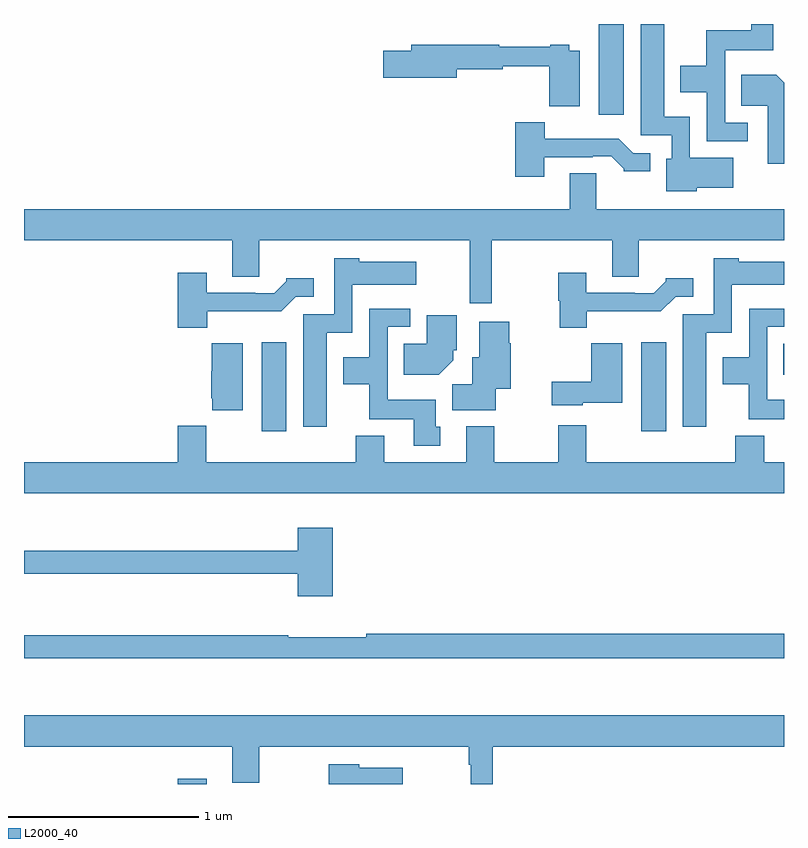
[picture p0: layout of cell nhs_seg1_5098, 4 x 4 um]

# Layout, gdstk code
import gdstk
lib = gdstk.Library(unit=1e-6, precision=1e-09)
def R(c, l, rs):  # rectangles x0, y0, x1, y1
    for r in rs: c.add(gdstk.rectangle(r[:2], r[2:], *l))
def P(c, l, *ps):  # polygons
    for p in ps: c.add(gdstk.Polygon(p, *l))
L2000_40 = (2000, 40)

nhs_seg1_5098 = lib.new_cell('nhs_seg1_5098')
R(nhs_seg1_5098, L2000_40, [(387.809,554.199,387.961,554.227), (388.25,556.056,388.381,556.525), (390.248,556.056,390.379,556.525), (390.997,556.352,391,556.516), (390.026,557.721,390.157,558.199), (389.585,558.198,389.737,558.199)])
P(nhs_seg1_5098, L2000_40, [(390.808,557.679),(390.69,557.679),(390.69,558.062),(390.943,558.062),(390.943,558.199),(390.827,558.199),(390.827,558.166),(390.592,558.166),(390.592,557.98),(390.455,557.98),(390.455,557.84),(390.594,557.84),(390.594,557.583),(390.808,557.583)],
  [(390.54,557.336),(390.733,557.336),(390.733,557.494),(390.504,557.494),(390.504,557.71),(390.37,557.71),(390.37,558.199),(390.245,558.199),(390.245,557.613),(390.408,557.613),(390.408,557.49),(390.38,557.49),(390.38,557.318),(390.54,557.318)],
  [(389.926,558.058),(389.871,558.058),(389.871,558.091),(389.771,558.091),(389.771,558.078),(389.501,558.078),(389.501,558.091),(389.039,558.091),(389.039,558.057),(388.89,558.057),(388.89,557.915),(389.278,557.915),(389.278,557.962),(389.52,557.962),(389.52,557.977),(389.764,557.977),(389.764,557.765),(389.926,557.765)],
  [(391,557.89),(390.958,557.932),(390.775,557.932),(390.775,557.768),(390.914,557.768),(390.914,557.463),(391,557.463)],
  [(389.737,557.499),(389.993,557.499),(389.993,557.502),(390.092,557.502),(390.156,557.438),(390.156,557.423),(390.295,557.423),(390.295,557.52),(390.207,557.52),(390.131,557.596),(389.74,557.596),(389.74,557.683),(389.585,557.683),(389.585,557.394),(389.737,557.394)],
  [(389.461,557.06),(390.095,557.06),(390.095,556.87),(390.235,556.87),(390.235,557.06),(391,557.06),(391,557.224),(390.013,557.224),(390.013,557.414),(389.873,557.414),(389.873,557.224),(387,557.224),(387,557.06),(388.097,557.06),(388.097,556.87),(388.237,556.87),(388.237,557.06),(389.347,557.06),(389.347,556.728),(389.461,556.728)],
  [(388.594,556.574),(388.728,556.574),(388.728,556.826),(389.065,556.826),(389.065,556.948),(388.764,556.948),(388.764,556.966),(388.632,556.966),(388.632,556.671),(388.469,556.671),(388.469,556.08),(388.594,556.08)],
  [(390.592,556.574),(390.726,556.574),(390.726,556.826),(391,556.826),(391,556.948),(390.762,556.948),(390.762,556.966),(390.63,556.966),(390.63,556.671),(390.467,556.671),(390.467,556.08),(390.592,556.08)],
  [(387.964,556.686),(388.353,556.686),(388.431,556.764),(388.525,556.764),(388.525,556.861),(388.38,556.861),(388.38,556.846),(388.316,556.782),(388.217,556.782),(388.217,556.785),(387.961,556.785),(387.961,556.891),(387.809,556.891),(387.809,556.601),(387.964,556.601)],
  [(389.962,556.686),(390.351,556.686),(390.429,556.764),(390.523,556.764),(390.523,556.861),(390.378,556.861),(390.378,556.846),(390.314,556.782),(390.215,556.782),(390.215,556.785),(389.959,556.785),(389.959,556.891),(389.812,556.891),(389.812,556.743),(389.819,556.743),(389.819,556.601),(389.962,556.601)],
  [(389.191,556.08),(389.167,556.08),(389.167,556.222),(388.914,556.222),(388.914,556.605),(389.032,556.605),(389.032,556.701),(388.818,556.701),(388.818,556.444),(388.679,556.444),(388.679,556.304),(388.816,556.304),(388.816,556.118),(389.051,556.118),(389.051,555.978),(389.191,555.978)],
  [(391,556.222),(390.912,556.222),(390.912,556.605),(391,556.605),(391,556.701),(390.816,556.701),(390.816,556.444),(390.677,556.444),(390.677,556.304),(390.814,556.304),(390.814,556.118),(391,556.118)],
  [(389.26,556.43),(389.26,556.482),(389.278,556.482),(389.278,556.666),(389.12,556.666),(389.12,556.516),(388.999,556.516),(388.999,556.352),(389.182,556.352)],
  [(389.482,556.28),(389.562,556.28),(389.562,556.52),(389.554,556.52),(389.554,556.633),(389.396,556.633),(389.396,556.444),(389.36,556.444),(389.36,556.304),(389.255,556.304),(389.255,556.166),(389.482,556.166)],
  [(388.15,556.519),(387.988,556.519),(387.988,556.371),(387.986,556.371),(387.986,556.23),(387.99,556.23),(387.99,556.165),(388.15,556.165)],
  [(389.94,556.205),(390.148,556.205),(390.148,556.519),(389.986,556.519),(389.986,556.315),(389.778,556.315),(389.778,556.193),(389.94,556.193)],
  [(391,555.892),(390.895,555.892),(390.895,556.033),(390.743,556.033),(390.743,555.892),(389.959,555.892),(389.959,556.087),(389.812,556.087),(389.812,555.892),(389.475,555.892),(389.475,556.081),(389.327,556.081),(389.327,555.892),(388.897,555.892),(388.897,556.033),(388.745,556.033),(388.745,555.892),(387.959,555.892),(387.959,556.085),(387.809,556.085),(387.809,555.892),(387,555.892),(387,555.728),(391,555.728)],
  [(388.625,555.547),(388.442,555.547),(388.442,555.427),(387,555.427),(387,555.306),(388.442,555.306),(388.442,555.186),(388.625,555.186)],
  [(391,554.99),(388.802,554.99),(388.802,554.972),(388.391,554.972),(388.391,554.983),(387,554.983),(387,554.862),(391,554.862)],
  [(389.468,554.396),(391,554.396),(391,554.56),(387,554.56),(387,554.396),(388.097,554.396),(388.097,554.206),(388.237,554.206),(388.237,554.396),(389.34,554.396),(389.34,554.3),(389.352,554.3),(389.352,554.199),(389.468,554.199)],
  [(388.993,554.284),(388.764,554.284),(388.764,554.302),(388.604,554.302),(388.604,554.199),(388.993,554.199)])

lib.write_gds('nhs_seg1_5098.gds')
